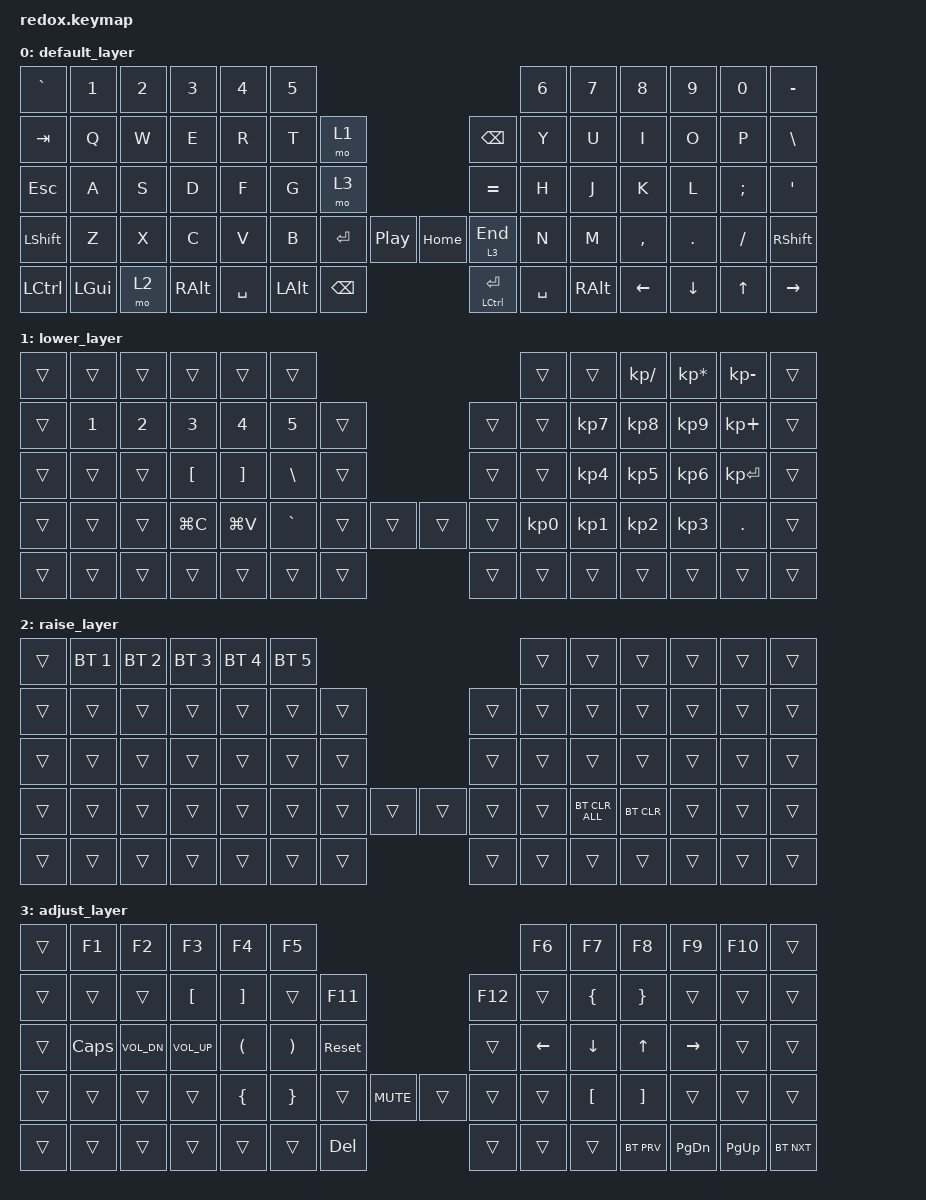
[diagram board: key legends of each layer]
/*
 * Copyright (c) 2021 The ZMK Contributors
 *
 * SPDX-License-Identifier: MIT
 */

#include <behaviors.dtsi>
#include <dt-bindings/zmk/keys.h>
#include <dt-bindings/zmk/bt.h>
#include <dt-bindings/zmk/ext_power.h>
#include <dt-bindings/zmk/outputs.h>

/ {
    keymap {
        compatible =  "zmk,keymap" ;

        default_layer {
// ------------------------------------------------------------------------------------------------------------------------------------------------
// |  `    |  1  |  2  |   3   |  4  |  5  |                                                        |  6    |  7    |  8    |  9   |   0  |     -     |
// | TAB   |  Q  |  W  |   E   |  R  |  T  |  MO 1  |                                     |  RALT   |  Y    |  U    |  I    |  O   |   P  |     |     |
// | ESC   |  A  |  S  |   D   |  F  |  G  |  MO 2  |                                     |    =    |  H    |  J    |  K    |  L   |   ;  |     '     |
// | SHIFT |  Z  |  X  |   C   |  V  |  B  |   ENTER    |   MUTE     | ---- |     HOME    |   END   |  N    |  M    |  ,    |   .  |   /  |   RSHIFT  |
// | CRTL  | GUI | mo 1 | RALT |   SPACE   |   LALT     | BACKSPACE  | ---- | RCTRL/ENTER |   SPACE |    MO 3       | LEFT  | DOWN |   UP |   RIGHT   |
            bindings = <
   &kp GRAVE   &kp N1   &kp N2   &kp N3 &kp N4   &kp N5                                                        &kp N6    &kp N7 &kp N8    &kp N9    &kp N0    &kp MINUS 
   &kp TAB   &kp Q    &kp W    &kp E  &kp R    &kp T  &mo 1                                         &kp BSPC   &kp Y     &kp U  &kp I     &kp O     &kp P     &kp BACKSLASH
   &kp ESC   &kp A    &kp S    &kp D  &kp F    &kp G  &mo 3                                      &kp EQUAL     &kp H     &kp J  &kp K     &kp L     &kp SEMI  &kp SQT
   &kp LSHFT &kp Z    &kp X    &kp C  &kp V    &kp B      &kp RET   &kp C_PLAY_PAUSE &kp HOME       &lt 3 END     &kp N     &kp M  &kp COMMA &kp DOT   &kp FSLH  &kp RSHFT
   &kp LCTRL &kp LGUI &mo 2    &kp RALT      &kp SPACE    &kp LALT  &kp BSPC         &mt LCTRL RET  &kp SPACE         &kp RALT        &kp LEFT  &kp DOWN  &kp UP    &kp RIGHT
            >;
        };

        lower_layer {
// --------------------------------------------------------------------------------------------------------------------------
// | ESC   |  1  |  2  |   3   |   4   |  5  |                   ---              |     |     |  DIV | MULT | MINUS |       |
// | ESC   |  1  |  2  |   3   |   4   |  5  |   (   |           ---        |     |     |  6  |   7  |  8   | PLUS  |       |
// | CTRL  |  -  |  =  |   [   |   ]   |  \  |   [   |           ---        |     |     |  4  |   5  |  6   | RET   |       |
// | SHIFT | ESC | GUI | COPY  | PASTE |     | PAGE_UP | PG_DOWN | --- | -  |     |  0  |  1  |   2  |  3   | DOT   |       |
// | CRTL  | ALT | GUI | LOWER |     GUI     | LOWER | SPACE     | --- | -  |     |           | LEFT | DOWN | UP    | RIGHT |
            bindings = <
   &trans  &trans    &trans    &trans    &trans    &trans                                &trans          &trans             &kp KP_DIVIDE      &kp KP_MULTIPLY    &kp KP_MINUS     &trans
   &trans  &kp N1    &kp N2    &kp N3    &kp N4    &kp N5    &trans               &trans &trans          &kp KP_NUMBER_7    &kp KP_NUMBER_8    &kp KP_NUMBER_9    &kp KP_PLUS      &trans
    &trans  &trans    &trans    &kp LBKT  &kp RBKT  &kp BSLH  &trans               &trans &trans          &kp KP_NUMBER_4    &kp KP_NUMBER_5    &kp KP_NUMBER_6    &kp KP_ENTER       &trans
   &trans  &trans    &trans    &kp LG(C) &kp LG(V) &kp GRAVE &trans &trans &trans &trans &kp KP_NUMBER_0 &kp KP_NUMBER_1    &kp KP_NUMBER_2    &kp KP_NUMBER_3    &kp DOT          &trans
   &trans  &trans    &trans    &trans          &trans        &trans    &trans     &trans &trans          &trans             &trans             &trans             &trans           &trans
            >;
        };


        raise_layer {
// -------------------------------------------------------------------------------------------------------------------
// |       |  1  |  2  |   3   |  4  |  5  |      | --- |              |  6   |  7   |  8   |  9   |  0    |  DEL  |
// |       |     |     |       |     |     |      | --- |      |  )    |  ^   |  &   |  *   |  (   |  )    |  DEL  |
// |       |     |     |       |     |     |      | --- |      |  ]    | HOME | PGUP | PRSC | UP   |  `    |   ~   |
// |       |     |     |       |     |     |      | --- | HOME | END   | END  | PGDN | LEFT | DOWN | RIGHT |  RET  |
// |       |     |     |       |     |     |      | --- | DEL  | SPACE |    RAISE    | LEFT | DOWN | UP    | RIGHT |
            bindings = <
   &trans  &bt BT_SEL 1 &bt BT_SEL 2 &bt BT_SEL 3 &bt BT_SEL 4 &bt BT_SEL 5    &trans    &trans    &trans    &trans     &trans    &trans
   &trans  &trans  &trans  &trans &trans &trans &trans                  &trans &trans &trans  &trans &trans   &trans  &trans
   &trans  &trans  &trans  &trans &trans &trans  &trans                 &trans &trans  &trans  &trans    &trans  &trans &trans
   &trans  &trans  &trans  &trans &trans &trans &trans  &trans  &trans  &trans  &trans  &bt BT_CLR_ALL &bt BT_CLR  &trans  &trans &trans
   &trans  &trans  &trans  &trans &trans        &trans  &trans  &trans  &trans  &trans  &trans      &trans  &trans  &trans
            >;
        };


        adjust_layer {
// --------------------------------------------------------------------------------------------------------------------------------------------------
// |       |       F1       |    F2       |    F3       |     F4  |  F5     |                  ---                | F6      |   F7     |  F8  |  F9      | F10    |     |
// |       | Bluetooth next |             |     [       |     ]   |         |   F11    |       ---        |  F12  |         |   LBRC   | RBRC |  BT4     | BT5    |     |
// |       |    Pause       |  Vol Dn     |  Vol Up     |     (   |  )      |  RESET   |       ---        |       | LEFT    |   DOWN   |  UP  | RIGHT    |        |     |
// |       |                |             |             |         |         |          |     | --- |      |       |         |          |      |          |        |     |
// |       |                |             |             |                   |          | DEL | --- |      |       |                    |      |          |        |     |
                  bindings = <
   &trans   &kp F1       &kp F2        &kp F3        &kp F4    &kp F5                                          &kp F6     &kp F7    &kp F8   &kp F9     &kp F10 &trans
   &trans   &trans       &trans        &kp LBKT      &kp RBKT  &trans  &kp F11                       &kp F12   &trans     &kp LBRC  &kp RBRC &trans     &trans  &trans
   &trans   &kp CAPSLOCK &kp C_VOL_DN  &kp C_VOL_UP  &kp LPAR  &kp RPAR  &sys_reset                    &trans  &kp LEFT   &kp DOWN  &kp UP   &kp RIGHT  &trans  &trans
   &trans   &trans       &trans        &trans        &kp LBRC  &kp RBRC  &trans    &kp K_MUTE  &trans  &trans  &trans     &kp LBKT  &kp RBKT &trans     &trans  &trans
   &trans   &trans       &trans        &trans        &trans              &trans         &kp DEL        &trans  &trans  &trans    &bt BT_PRV    &kp PAGE_DOWN  &kp PAGE_UP     &bt BT_NXT
           >;
        };
    };
};

// &trans       &trans           &trans         &trans           &LPAR             &RPAR   &kp PAGE_UP  &kp PAGE_DOWN     &trans    &trans   &trans     &bt BT_SEL 1    &bt BT_SEL 2    &bt BT_SEL 3    &bt BT_SEL 4  &bt BT_CLR
// //
